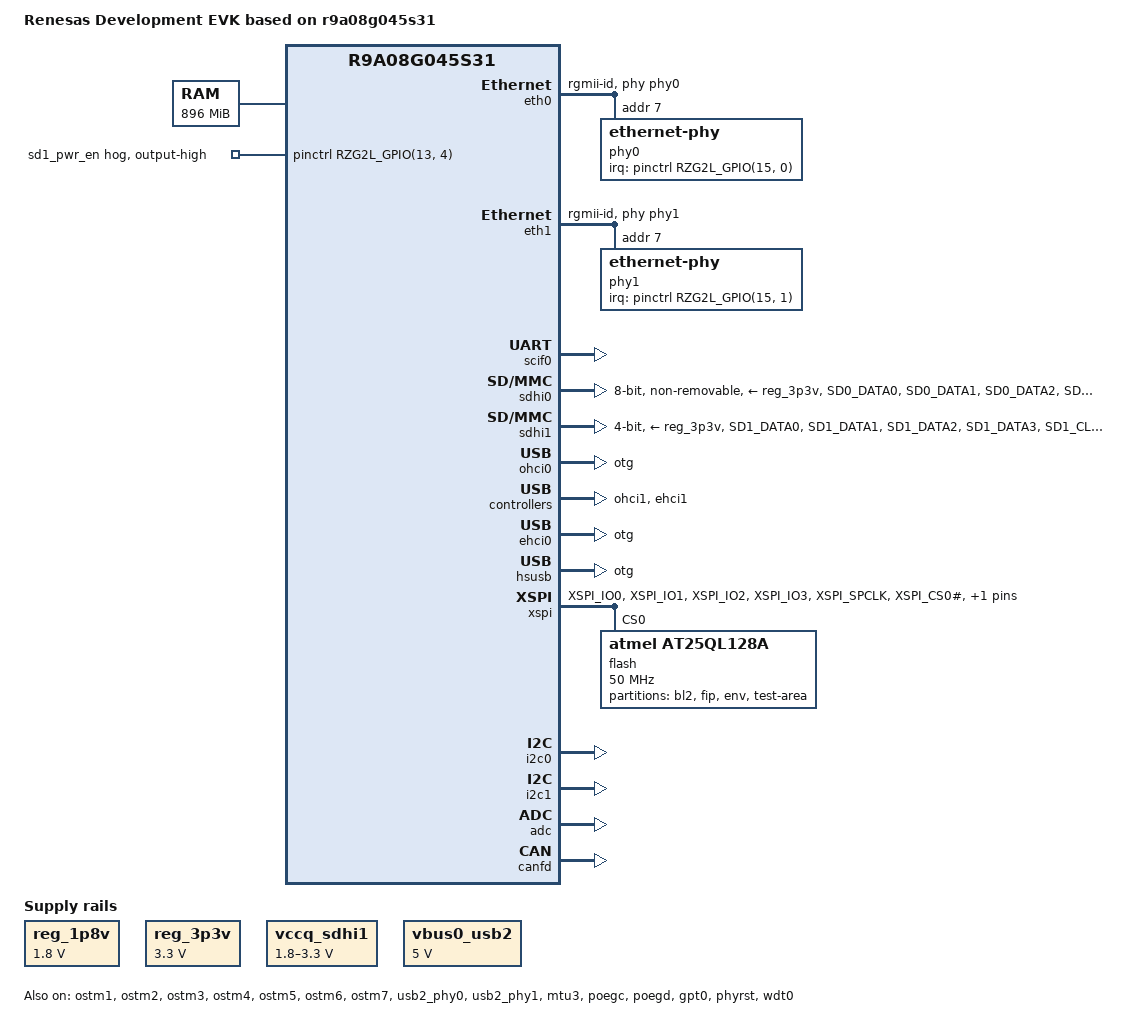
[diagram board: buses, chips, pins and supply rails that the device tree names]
// SPDX-License-Identifier: (GPL-2.0-only OR BSD-2-Clause)
/*
 * Device Tree Source for the RZ/G3S Development EVK board
 *
 * Copyright (C) 2022 Renesas Electronics Corp.
 */

/dts-v1/;
#include "r9a08g045.dtsi"
#include <dt-bindings/gpio/gpio.h>
#include <dt-bindings/pinctrl/rzg2l-pinctrl.h>

/*
 * select between USB phy0 and MTU3 pins which are multiplexed
 * MTU3 pins are NOT required by clocksoure function
 */
#define MTU3_PINS_SEL			0

/ {
	model = "Renesas Development EVK based on r9a08g045s31";
	compatible = "renesas,r9a08g045s31-dev",
		     "renesas,r9a08g045",
		     "renesas,r9a08g045s31";

	aliases {
		serial0 = &scif0;
		i2c0 = &i2c0;
		i2c1 = &i2c1;
		ethernet0 = &eth0;
		ethernet1 = &eth1;
		mmc0 = &sdhi0;
		mmc1 = &sdhi1;
	};

	memory@48000000 {
		device_type = "memory";
		reg = <0x0 0x48000000 0x0 0x38000000>;
	};

	chosen {
		bootargs = "ignore_loglevel";
		stdout-path = "serial0:115200n8";
	};

	reg_1p8v: regulator0 {
		compatible = "regulator-fixed";
		regulator-name = "fixed-1.8V";
		regulator-min-microvolt = <1800000>;
		regulator-max-microvolt = <1800000>;
		regulator-boot-on;
		regulator-always-on;
	};

	reg_3p3v: regulator1 {
		compatible = "regulator-fixed";
		regulator-name = "fixed-3.3V";
		regulator-min-microvolt = <3300000>;
		regulator-max-microvolt = <3300000>;
		regulator-boot-on;
		regulator-always-on;
	};

	vccq_sdhi1: regulator-vccq-sdhi1 {
		compatible = "regulator-gpio";
		regulator-name = "SDHI1 VccQ";

		regulator-min-microvolt = <1800000>;
		regulator-max-microvolt = <3300000>;

		gpios = <&pinctrl RZG2L_GPIO(13, 0) GPIO_ACTIVE_HIGH>;
		gpios-states = <1>;
		states = <3300000 1>, <1800000 0>;
	};

	vbus0_usb2: regulator-vbus0-usb2 {
		compatible = "regulator-fixed";

		regulator-name = "USB20_VBUS0";
		regulator-min-microvolt = <5000000>;
		regulator-max-microvolt = <5000000>;
	};
};

&extal_clk {
	clock-frequency = <24000000>;
};

&pinctrl {
	adc_pins: adc {
		pinmux = <RZG2L_PORT_PINMUX(5, 1, 4)>; /* ADC_TRG */
	};

	canfd0_pins: canfd0 {
		pinmux = <RZG2L_PORT_PINMUX(13, 1, 3)>, /* TX */
			 <RZG2L_PORT_PINMUX(13, 2, 3)>; /* RX */
	};

	canfd1_pins: canfd1 {
		pinmux = <RZG2L_PORT_PINMUX(14, 0, 3)>, /* TX */
			 <RZG2L_PORT_PINMUX(14, 1, 3)>; /* RX */
	};

	eth0_pins: eth0 {
		pinmux = <RZG2L_PORT_PINMUX(4, 5, 1)>, /* ET0_LINKSTA */
			 <RZG2L_PORT_PINMUX(4, 3, 1)>, /* ET0_MDC */
			 <RZG2L_PORT_PINMUX(4, 4, 1)>, /* ET0_MDIO */
			 <RZG2L_PORT_PINMUX(1, 0, 1)>, /* ET0_TXC */
			 <RZG2L_PORT_PINMUX(1, 1, 1)>, /* ET0_TX_CTL */
			 <RZG2L_PORT_PINMUX(1, 2, 1)>, /* ET0_TXD0 */
			 <RZG2L_PORT_PINMUX(1, 3, 1)>, /* ET0_TXD1 */
			 <RZG2L_PORT_PINMUX(1, 4, 1)>, /* ET0_TXD2 */
			 <RZG2L_PORT_PINMUX(2, 0, 1)>, /* ET0_TXD3 */
			 <RZG2L_PORT_PINMUX(3, 0, 1)>, /* ET0_RXC */
			 <RZG2L_PORT_PINMUX(3, 1, 1)>, /* ET0_RX_CTL */
			 <RZG2L_PORT_PINMUX(3, 2, 1)>, /* ET0_RXD0 */
			 <RZG2L_PORT_PINMUX(3, 3, 1)>, /* ET0_RXD1 */
			 <RZG2L_PORT_PINMUX(4, 0, 1)>, /* ET0_RXD2 */
			 <RZG2L_PORT_PINMUX(4, 1, 1)>; /* ET0_RXD3 */
	};

	eth1_pins: eth1 {
		pinmux = <RZG2L_PORT_PINMUX(10, 4, 1)>, /* ET1_LINKSTA */
			 <RZG2L_PORT_PINMUX(10, 2, 1)>, /* ET1_MDC */
			 <RZG2L_PORT_PINMUX(10, 3, 1)>, /* ET1_MDIO */
			 <RZG2L_PORT_PINMUX(7, 0, 1)>, /* ET1_TXC */
			 <RZG2L_PORT_PINMUX(7, 1, 1)>, /* ET1_TX_CTL */
			 <RZG2L_PORT_PINMUX(7, 2, 1)>, /* ET1_TXD0 */
			 <RZG2L_PORT_PINMUX(7, 3, 1)>, /* ET1_TXD1 */
			 <RZG2L_PORT_PINMUX(7, 4, 1)>, /* ET1_TXD2 */
			 <RZG2L_PORT_PINMUX(8, 0, 1)>, /* ET1_TXD3 */
			 <RZG2L_PORT_PINMUX(8, 4, 1)>, /* ET1_RXC */
			 <RZG2L_PORT_PINMUX(9, 0, 1)>, /* ET1_RX_CTL */
			 <RZG2L_PORT_PINMUX(9, 1, 1)>, /* ET1_RXD0 */
			 <RZG2L_PORT_PINMUX(9, 2, 1)>, /* ET1_RXD1 */
			 <RZG2L_PORT_PINMUX(9, 3, 1)>, /* ET1_RXD2 */
			 <RZG2L_PORT_PINMUX(10, 0, 1)>; /* ET1_RXD3 */
	};

	scif0_pins: scif0 {
		pinmux = <RZG2L_PORT_PINMUX(6, 4, 1)>, /* TxD */
			 <RZG2L_PORT_PINMUX(6, 3, 1)>; /* RxD */
	};

	sdhi0_emmc_pins: sd0emmc {
		sd0_emmc_data {
			pins = "SD0_DATA0", "SD0_DATA1", "SD0_DATA2", "SD0_DATA3",
			       "SD0_DATA4", "SD0_DATA5", "SD0_DATA6", "SD0_DATA7";
			power-source = <1800>;
		};

		sd0_emmc_ctrl {
			pins = "SD0_CLK", "SD0_CMD";
			power-source = <1800>;
		};

		sd0_emmc_rst {
			pins = "SD0_RST#";
			power-source = <1800>;
		};
	};

	sd1-pwr-en-hog {
		gpio-hog;
		gpios = <RZG2L_GPIO(13, 4) GPIO_ACTIVE_HIGH>;
		output-high;
		line-name = "sd1_pwr_en";
	};

	sdhi1_pins: sd1 {
		sd1_data {
			pins = "SD1_DATA0", "SD1_DATA1", "SD1_DATA2", "SD1_DATA3";
			power-source = <3300>;
		};

		sd1_ctrl {
			pins = "SD1_CLK", "SD1_CMD";
			power-source = <3300>;
		};

		sd1_mux {
			pinmux = <RZG2L_PORT_PINMUX(0, 2, 1)>; /* SD1_CD */
		};
	};

	sdhi1_pins_uhs: sd1_uhs {
		sd1_data_uhs {
			pins = "SD1_DATA0", "SD1_DATA1", "SD1_DATA2", "SD1_DATA3";
			power-source = <1800>;
		};

		sd1_ctrl_uhs {
			pins = "SD1_CLK", "SD1_CMD";
			power-source = <1800>;
		};

		sd1_mux_uhs {
			pinmux = <RZG2L_PORT_PINMUX(0, 2, 1)>; /* SD1_CD */
		};
	};

#if !MTU3_PINS_SEL
	usb0_pins: usb0 {
		pinmux = <RZG2L_PORT_PINMUX(5, 0, 1)>, /* VBUS */
			 <RZG2L_PORT_PINMUX(5, 2, 1)>, /* OVC */
			 <RZG2L_PORT_PINMUX(5, 3, 1)>; /* OTG_ID */
	};
#endif

	usb1_pins: usb1 {
		pinmux = <RZG2L_PORT_PINMUX(6, 1, 1)>, /* OVC */
			 <RZG2L_PORT_PINMUX(6, 0, 1)>; /* VBUS */
	};

	xspi_pins: xspi {
		xspi-data {
			pins = "XSPI_IO0", "XSPI_IO1", "XSPI_IO2", "XSPI_IO3";
			power-source = <1800>;
		};

		xspi-ctrl {
			pins = "XSPI_SPCLK", "XSPI_CS0#", "XSPI_RESET#";
			power-source = <1800>;
		};
	};

#if MTU3_PINS_SEL
	mtu3_pins: mtu3 {
		pinmux =
			<RZG2L_PORT_PINMUX(5, 0, 3)>, /* MTIOC7A - JP1036 */
			<RZG2L_PORT_PINMUX(5, 2, 3)>; /* MTIOC7C - JP1038 */
	};

	/* Note: POE pins can be tested via J17 of SD2, but must turn off SW58. */
	poe3_pins: poe3 {
		pinmux = <RZG2L_PORT_PINMUX(11, 0, 2)>, /* POE0# - SD2_CLK - J17_6 */
			 <RZG2L_PORT_PINMUX(11, 1, 2)>; /* POE4# - SD2_CMD - J17_8 */
	};
#endif

	poegc_pins: poegc {
		pinmux = <RZG2L_PORT_PINMUX(11, 2, 5)>; /* GPT_Ext_C - SD2_DATA0 - J17_3 */
	};

	poegd_pins: poegd {
		pinmux = <RZG2L_PORT_PINMUX(11, 3, 5)>; /* GPT_Ext_D - SD2_DATA1 - J17_2 */
	};

	gpt0_pins: gpt0 {
		pinmux = <RZG2L_PORT_PINMUX(12, 0, 3)>, /* GTIOC0A - SD2_DATA2 - J17_10 */
			 <RZG2L_PORT_PINMUX(12, 1, 3)>; /* GTIOC0B - SD2_DATA3 - J17_9 */
	};
};

&eth0 {
	pinctrl-0 = <&eth0_pins>;
	pinctrl-names = "default";
	phy-handle = <&phy0>;
	phy-mode = "rgmii-id";
	status = "okay";

	phy0: ethernet-phy@7 {
		reg = <7>;
		rxc-skew-psec = <2400>;
		txc-skew-psec = <2400>;
		rxdv-skew-psec = <0>;
		txdv-skew-psec = <0>;
		rxd0-skew-psec = <0>;
		rxd1-skew-psec = <0>;
		rxd2-skew-psec = <0>;
		rxd3-skew-psec = <0>;
		txd0-skew-psec = <0>;
		txd1-skew-psec = <0>;
		txd2-skew-psec = <0>;
		txd3-skew-psec = <0>;

		interrupt-parent = <&pinctrl>;
		interrupts = <RZG2L_GPIO(15, 0) IRQ_TYPE_LEVEL_LOW>;
	};
};

&eth1 {
	pinctrl-0 = <&eth1_pins>;
	pinctrl-names = "default";
	phy-handle = <&phy1>;
	phy-mode = "rgmii-id";
	status = "okay";

	phy1: ethernet-phy@7 {
		reg = <7>;
		rxc-skew-psec = <2400>;
		txc-skew-psec = <2400>;
		rxdv-skew-psec = <0>;
		txdv-skew-psec = <0>;
		rxd0-skew-psec = <0>;
		rxd1-skew-psec = <0>;
		rxd2-skew-psec = <0>;
		rxd3-skew-psec = <0>;
		txd0-skew-psec = <0>;
		txd1-skew-psec = <0>;
		txd2-skew-psec = <0>;
		txd3-skew-psec = <0>;

		interrupt-parent = <&pinctrl>;
		interrupts = <RZG2L_GPIO(15, 1) IRQ_TYPE_LEVEL_LOW>;
	};
};

&scif0 {
	pinctrl-0 = <&scif0_pins>;
	pinctrl-names = "default";
	status = "okay";
};

&sdhi0 {
	pinctrl-0 = <&sdhi0_emmc_pins>;
	pinctrl-1 = <&sdhi0_emmc_pins>;
	pinctrl-names = "default", "state_uhs";

	vmmc-supply = <&reg_3p3v>;
	vqmmc-supply = <&reg_1p8v>;
	bus-width = <8>;
	mmc-hs200-1_8v;
	non-removable;
	fixed-emmc-driver-type = <1>;
	max-frequency = <125000000>;
	status = "okay";
};

&sdhi1 {
	pinctrl-0 = <&sdhi1_pins>;
	pinctrl-1 = <&sdhi1_pins_uhs>;
	pinctrl-names = "default", "state_uhs";

	vmmc-supply = <&reg_3p3v>;
	vqmmc-supply = <&vccq_sdhi1>;
	bus-width = <4>;

	sd-uhs-sdr50;
	sd-uhs-sdr104;
	max-frequency = <125000000>;
	status = "okay";
};

&ohci0 {
	dr_mode = "otg";
	status = "okay";
};

&ohci1 {
	status = "okay";
};

&ostm1 {
	status = "okay";
};

&ostm2 {
	status = "okay";
};

&ostm3 {
	status = "okay";
};

&ostm4 {
	status = "okay";
};

&ostm5 {
	status = "okay";
};

&ostm6 {
	status = "okay";
};

&ostm7 {
	status = "okay";
};

&ehci0 {
	dr_mode = "otg";
	status = "okay";
};

&ehci1 {
	status = "okay";
};

&hsusb {
	dr_mode = "otg";
	status = "okay";
};

#if !MTU3_PINS_SEL
&usb2_phy0 {
	pinctrl-0 = <&usb0_pins>;
	pinctrl-names = "default";

	vbus-supply = <&vbus0_usb2>;
	status = "okay";
};
#endif

&usb2_phy1 {
	pinctrl-0 = <&usb1_pins>;
	pinctrl-names = "default";

	status = "okay";
};

&mtu3 {
#if MTU3_PINS_SEL
	pinctrl-0 = <&mtu3_pins>;
	pinctrl-names = "default";
	pwm_complementary = <7 0>;
#endif
	status = "okay";
};

#if MTU3_PINS_SEL
&poe3 {
	pinctrl-0 = <&poe3_pins>;
	pinctrl-names = "default";
	poe3_pins_mode = <0 0>, <4 0>;
	status = "okay";
	mtu3_ch67 {
		mtu3_outputs = <1>;
		addition_poe3_inputs = <0 4>;
	};
};
#endif

&poegc {
	pinctrl-0 = <&poegc_pins>;
	pinctrl-names = "default";
	status = "okay";
};

&poegd {
	pinctrl-0 = <&poegd_pins>;
	pinctrl-names = "default";
	status = "okay";
};

&gpt0 {
	pinctrl-0 = <&gpt0_pins>;
	pinctrl-names = "default";
	channel = "both_AB";
	poeg = <&poegc &poegd>;
	status = "okay";
};

&phyrst {
	status = "okay";
};

&xspi {
	pinctrl-0 = <&xspi_pins>;
	pinctrl-names = "default";

	status = "okay";

	flash@0 {
		compatible = "atmel,at25ql128a", "jedec,spi-nor";
		reg = <0>;
		m25p,fast-read;
		spi-max-frequency = <50000000>;
		spi-tx-bus-width = <1>;
		spi-rx-bus-width = <1>;

		partitions {
			compatible = "fixed-partitions";
			#address-cells = <1>;
			#size-cells = <1>;

			partition@000000 {
				label = "bl2";
				reg = <0x00000000 0x0001D200>;
				read-only;
			};
			partition@01D200 {
				label = "fip";
				reg = <0x0001D200 0x001C2E00>;
				read-only;
			};
			partition@1E0000 {
				label = "env";
				reg = <0x001E0000 0x00020000>;
				read-only;
			};
			partition@200000 {
				label = "test-area";
				reg = <0x00200000 0x00E00000>;
			};
		};
	};
};

&wdt0 {
	status = "okay";
	timeout-sec = <60>;
};

&i2c0 {
	status = "okay";
};

&i2c1 {
	status = "okay";
};

&adc {
	pinctrl-0 = <&adc_pins>;
	pinctrl-names = "default";
	status = "okay";
};

&canfd {
	pinctrl-0 = <&canfd0_pins &canfd1_pins>;
	pinctrl-names = "default";
	status = "okay";
	channel0 {
		status = "okay";
	};
	channel1 {
		status = "okay";
	};
};
